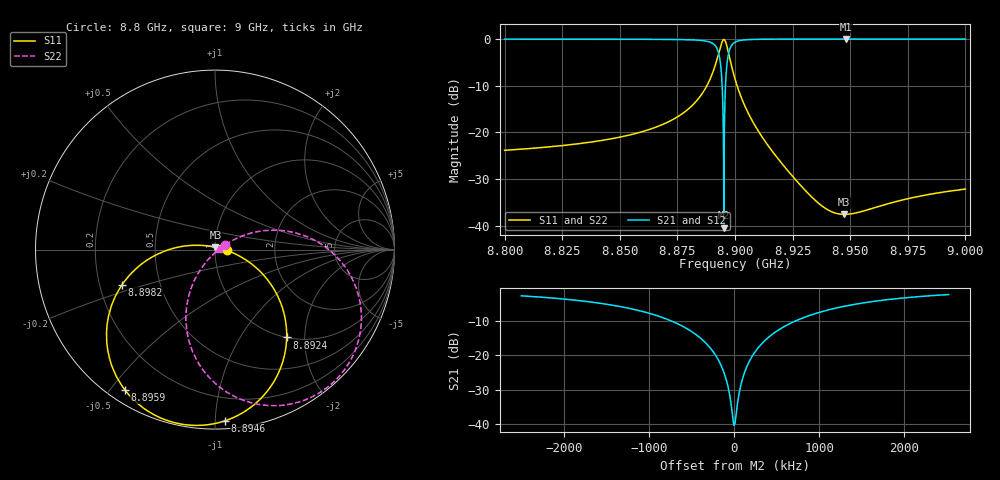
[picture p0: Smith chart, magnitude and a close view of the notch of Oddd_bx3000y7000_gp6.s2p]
! Sonnet Data File
! From: emgraph Version : 16.52
! From Emgraph Data: Resonator2
! Data File Written: 10/04/2017 23:02:09
!< HDATE 10/04/2017 20:26:48
!< MDATE 10/04/2017 20:26:48
!< PARAMS
!< gap = 6.0
!< Length = 400.0
!< Pwid1 = 1500.0
!< END PARAMS
# GHZ S MA R 37.90000
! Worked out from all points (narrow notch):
!   1596 points, 8.8 GHz to 9 GHz, reference 37.9 ohm
!   highest |S21| = 0.00 dB at 8.948 GHz (marker M1); lowest = -40.4 dB at 8.8952 GHz (marker M2)
!   notch at M2: 40.4 dB deep, 423 kHz wide at half that depth
!   lowest |S11| = -37.6 dB at 8.9474 GHz (marker M3), VSWR 1.03, Z = 38.1 + j0.984 ohm
!   |S11| at or under -10 dB: start of sweep to 8.8878 GHz; 8.9009 GHz to end of sweep
!   |S22| runs from -37.6 to -0.1 dB; largest |S21 - S12| = 0
!   S11 on the Smith chart (normalised r, x): 8.8 GHz: 1.14, -0.01; 8.8924 GHz: 1.00, -1.63; 8.8946 GHz: 0.05, -1.06; 8.8959 GHz: 0.05, -0.55; 8.8982 GHz: 0.30, -0.17; 9 GHz: 1.05, +0.02
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8.8  0.06419 -3.2  0.9979 -78.5  0.9979 -78.5  0.06419 26.1
!< P1 F=8.8 Eeff=(5.57630778 -2.4821e-5) Z0=(37.9068886 8.51285e-5) R=0.0 C=0.0
!< P2 F=8.8 Eeff=(5.57630778 -2.4821e-5) Z0=(37.9068886 8.51285e-5) R=0.0 C=0.0
8.8334  0.07628 -6.0  0.9971 -79.5  0.9971 -79.5  0.07628 26.9
8.8668  0.1165 -12.1  0.9931 -82.2  0.9931 -82.2  0.1165 27.7
8.8864  0.2756 -25.5  0.9607 -91.7  0.9607 -91.7  0.2757 22.0
8.889995  0.4158 -35.2  0.9079 -100.3  0.9079 -100.3  0.4159 14.2
8.892394  0.6319 -50.8  0.7705 -114.9  0.7705 -114.9  0.632 0.1
8.893792  0.8452 -70.2  0.522 -133.5  0.522 -133.5  0.8454 -18.4
8.894558  0.9558 -86.7  0.2629 -148.6  0.2629 -148.6  0.9561 -34.4
8.894932  0.9854 -96.2  0.1023 -154.7  0.1023 -154.7  0.9856 -43.6
8.895  0.988 -98.0  0.07209 -154.2  0.07209 -154.2  0.9882 -45.3
8.895153  0.9904 -102.1  0.009513 -83.0  0.009513 -83.0  0.9907 -49.3
8.895407  0.9837 -108.9  0.1159 2.9  0.1159 2.9  0.984 -55.9
8.895945  0.929 -122.7  0.3461 -7.5  0.3461 -7.5  0.9292 -69.4
8.896807  0.779 -140.9  0.617 -24.6  0.617 -24.6  0.7792 -86.9
8.898194  0.5534 -159.3  0.8289 -42.2  0.8289 -42.2  0.5536 -104.3
8.9  0.3737 -171.9  0.9258 -53.9  0.9258 -53.9  0.3738 -115.4
8.9104  0.1006 166.1  0.9947 -70.2  0.9947 -70.2  0.1007 -126.2
8.9334  0.02017 127.6  0.9998 -75.2  0.9998 -75.2  0.0202 -97.9
8.9474  0.0132 77.9  0.9999 -76.2  0.9999 -76.2  0.01323 -50.4
8.948  0.0132 75.9  0.9999 -76.2  0.9999 -76.2  0.01323 -48.4
8.9668  0.01728 36.5  0.9998 -77.0  0.9998 -77.0  0.01729 -10.6
9  0.02466 18.2  0.9997 -77.9  0.9997 -77.9  0.02466 6.0
